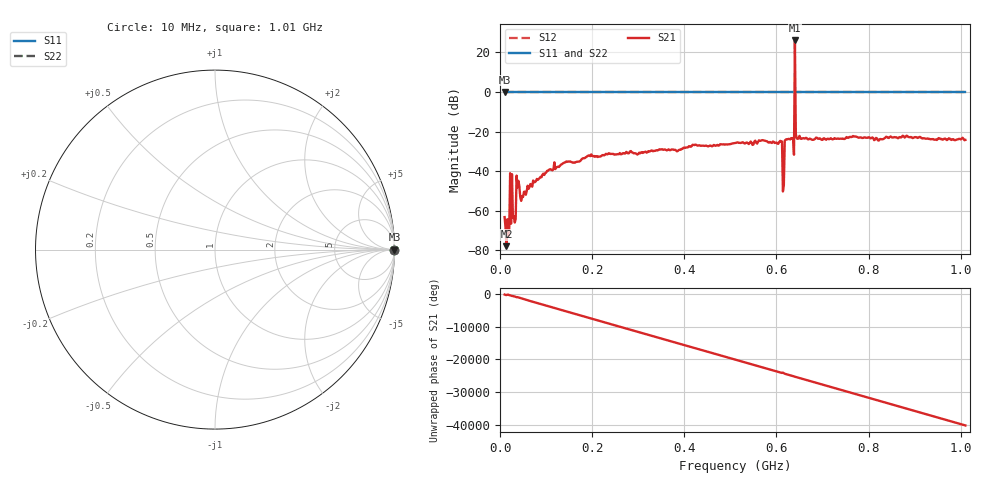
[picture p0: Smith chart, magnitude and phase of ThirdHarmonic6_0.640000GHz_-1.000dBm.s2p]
! 8/15/2025 9:11:09 PM
! C:\ANRITSUVNA\TEMP\TEMP.S2P
! CHANNEL.1
! TR.MEASUREMENT
! RAW.DATA
! RF.CORRECTION.OFF
! AVERAGING.OFF
! IF.BANDWIDTH: 5KHZ
! SWEEPTYPE:  FREQ.SWEEP(Linear)
! Reference Plane Port Info
! PORT:  PORT1  PORT2
! DISTANCE:  0  m  0  m
! TIME:  0  s  0  s
! PHASE.OFFSET:  0  deg.  0  deg.
! LOSS:  0  dB  0  dB
! REF.LOSS:  0  dB  0  dB
! REF.FREQ:  0  Hz  0  Hz
! Power Info
! POWER:  -20  dBm  -20  dBm
! EFF.POWER:  -20  dBm  -20  dBm
! SOURCE.ATTEN:  0  dB  0  dB
! TEST.ATTEN:  0  dB  0  dB
# GHZ S RI R 50.0
! FREQ.GHZ  S11RE  S11IM  S21RE  S21IM  S12RE  S12IM  S22RE  S22IM
!; PortSelection: Port_12
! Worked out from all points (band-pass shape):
!   501 points, 10 MHz to 1.01 GHz, reference 50 ohm
!   highest |S21| = 26.06 dB at 640 MHz (marker M1); lowest = -77.9 dB at 14 MHz (marker M2)
!   |S21| within 3 dB of the highest: 639.8961 MHz to 640.1269 MHz (230.8 kHz wide, 0.0361 % of centre)
!   lowest |S11| = 0.0 dB at 10 MHz (marker M3)
!   |S11| at or under -10 dB: nowhere
!   |S22| runs from 0.0 to 0.0 dB; largest |S21 - S12| = 20
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0.01  1 0  -0.00037 -0.000584  1 0  1 0
0.014  1 0  5.1e-06 0.000127  1 0  1 0
0.026  1 0  -0.00811 0.00227  1 0  1 0
0.032  1 0  0.000498 7.96e-05  1 0  1 0
0.04  1 0  0.00186 0.00539  1 0  1 0
0.048  1 0  0.000937 0.00215  1 0  1 0
0.106  1 0  -0.00841 -0.0068  1 0  1 0
0.178  1 0  -0.0204 -0.000937  1 0  1 0
0.344  1 0  0.0287 -0.019  1 0  1 0
0.51  1 0  -0.0277 0.0432  1 0  1 0
0.608  1 0  -0.0424 0.0401  1 0  1 0
0.612  1 0  0.0522 -0.0209  1 0  1 0
0.618  1 0  -0.00357 0.0589  1 0  1 0
0.622  1 0  0.0245 -0.0596  1 0  1 0
0.634  1 0  -0.0653 0.0153  1 0  1 0
0.636  1 0  0.00472 0.0689  1 0  1 0
0.64  1 0  0.3225 -20.08  1 0  1 0
0.644  1 0  -0.0264 0.0621  1 0  1 0
0.646  1 0  0.0539 0.0375  1 0  1 0
0.678  1 0  -0.0619 -0.00225  1 0  1 0
0.844  1 0  0.0561 -0.0406  1 0  1 0
1.01  1 0  -0.00382 0.0615  1 0  1 0
